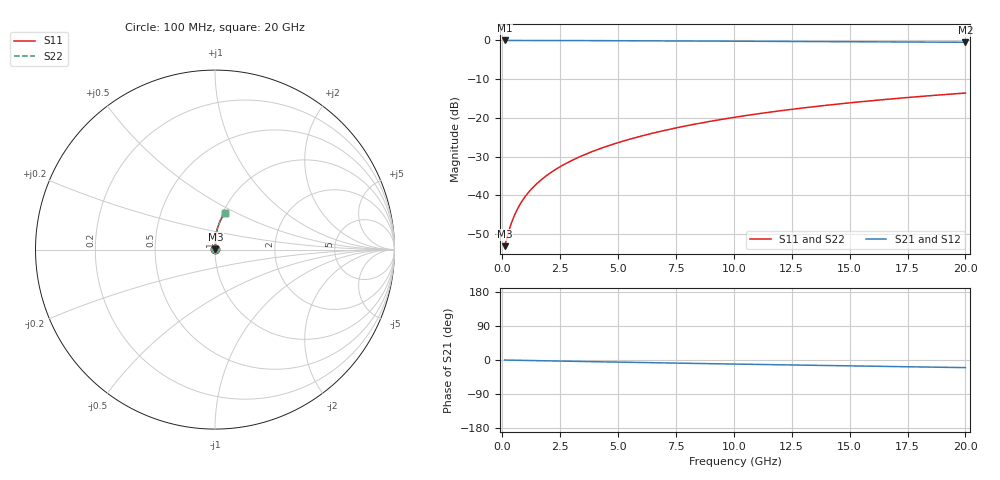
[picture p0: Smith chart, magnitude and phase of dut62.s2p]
! Touchstone file exported from HFSS 2024.1.0
!  File:  C:/UserFiles/LocalFiles/RDL_TSV_Batchsim/temp_RDL_top_62_1778681777.aedt
!  Generated:  10:18:56 PM May 13, 2026
!  Design:  RDL_top
!  Project:  temp_RDL_top_62_1778681777
!  Setup:  Setup1
!  Solution:  Sweep
! Variables:
!  dtsv = 10.80580581um
!  hbump = 3um
!  htsv = 70.85um
!  ldown = 100um
!  lrdl = 262.5um
!  p = 40
!  p1 = 44.25um
!  rhole = 1um
!  t = 450um
!  tdown = 3.915915916um
!  trdl = 2.64um
!  wdown = 15.38538539um
!  wrdl = 21.23um
# GHz S MA R 50.000000
! Terminal data exported
! Port[1] = Box2_T1
! Port[2] = Box2_T2
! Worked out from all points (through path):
!   200 points, 100 MHz to 20 GHz, reference 50 ohm
!   highest |S21| = -0.02 dB at 100 MHz (marker M1); lowest = -0.5 dB at 20 GHz (marker M2)
!   group delay of S21, straight-line fit = 2.77 ps
!   lowest |S11| = -53.1 dB at 100 MHz (marker M3), VSWR 1.00, Z = 50.2 + j0.103 ohm
!   |S11| at or under -10 dB: start of sweep to end of sweep
!   |S22| runs from -53.1 to -13.6 dB; largest |S21 - S12| = 2.6e-15
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0.1  0.002206 27.7  0.998 -0.1  0.998 -0.1  0.002206 27.7
! Gamma 0 0 0 0
! Port Impedance 50 0 50 0
0.3  0.003601 55.2  0.9979 -0.4  0.9979 -0.4  0.0036 55.2
0.4  0.004432 61.8  0.9978 -0.5  0.9978 -0.5  0.004432 61.8
0.5  0.005296 66.2  0.9977 -0.6  0.9977 -0.6  0.005296 66.2
0.6  0.006174 69.4  0.9976 -0.7  0.9976 -0.7  0.006175 69.4
0.7  0.00706 71.8  0.9975 -0.8  0.9975 -0.8  0.007061 71.8
0.9  0.008842 75.1  0.9973 -1.0  0.9973 -1.0  0.008843 75.1
1.2  0.01153 78.4  0.9971 -1.4  0.9971 -1.4  0.01153 78.4
1.4  0.01333 79.9  0.9969 -1.6  0.9969 -1.6  0.01333 79.9
1.7  0.01605 81.6  0.9966 -2.0  0.9966 -2.0  0.01605 81.6
2.2  0.02064 83.5  0.9959 -2.5  0.9959 -2.5  0.02064 83.5
2.8  0.02626 85.0  0.995 -3.2  0.995 -3.2  0.02626 85.0
3.5  0.03297 86.1  0.9937 -4.0  0.9937 -4.0  0.03296 86.1
4.2  0.03983 86.7  0.9923 -4.7  0.9923 -4.7  0.03983 86.7
5  0.04788 87.1  0.9904 -5.6  0.9904 -5.6  0.04787 87.1
5.9  0.05715 87.2  0.9881 -6.6  0.9881 -6.6  0.05714 87.1
6.8  0.06662 86.9  0.9856 -7.5  0.9856 -7.5  0.06662 86.9
8.4  0.08385 86.1  0.981 -9.1  0.981 -9.1  0.08384 86.1
10.1  0.1025 84.8  0.976 -10.8  0.976 -10.8  0.1025 84.8
13.4  0.1388 81.8  0.966 -14.0  0.966 -14.0  0.1388 81.7
16.7  0.1745 78.4  0.956 -17.1  0.956 -17.1  0.1745 78.4
20  0.2092 75.0  0.9458 -20.1  0.9458 -20.1  0.2092 75.0
